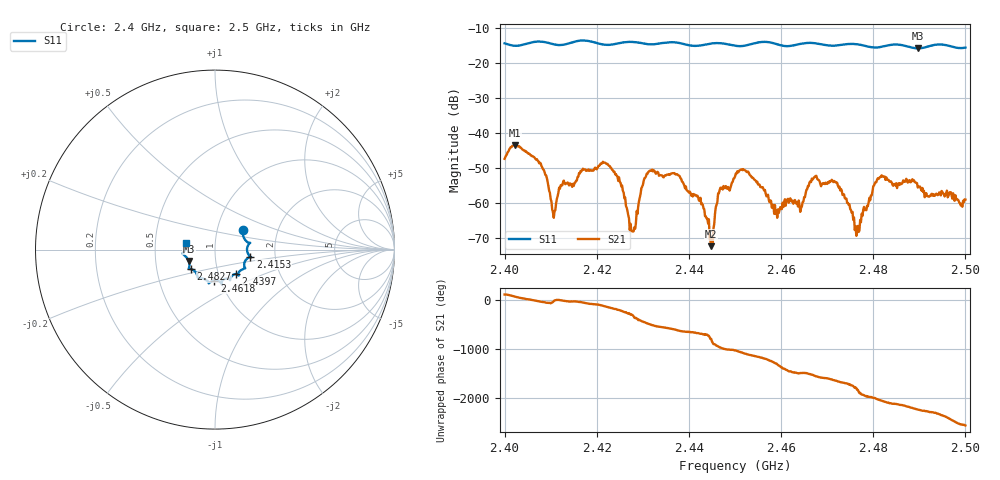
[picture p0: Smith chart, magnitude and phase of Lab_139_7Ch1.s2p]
# Hz S RI R 50
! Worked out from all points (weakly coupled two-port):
!   601 points, 2.4 GHz to 2.5 GHz, reference 50 ohm
!   highest |S21| = -43.44 dB at 2.4022 GHz (marker M1); lowest = -72.2 dB at 2.4448 GHz (marker M2)
!   lowest |S11| = -15.9 dB at 2.4897 GHz (marker M3), VSWR 1.38, Z = 36.9 - j4.82 ohm
!   |S11| at or under -10 dB: start of sweep to end of sweep
!   S12 and S22 are empty: the file has one direction only
!   S11 on the Smith chart (normalised r, x): 2.4 GHz: 1.33, +0.30; 2.4153 GHz: 1.48, -0.12; 2.4397 GHz: 1.21, -0.34; 2.4618 GHz: 0.94, -0.33; 2.4827 GHz: 0.75, -0.17; 2.5 GHz: 0.72, +0.06
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2.4e9  0.1553 0.1069  -0.00223 0.00366  0 0  0 0
2.402167e9  0.1587 0.0716  0.00111 0.00664  0 0  0 0
2.408167e9  0.1951 0.0375  0.00274 -0.00169  0 0  0 0
2.410667e9  0.1818 0.0187  0.000604 -0.00014  0 0  0 0
2.415333e9  0.1964 -0.0392  0.00184 -0.00072  0 0  0 0
2.416667e9  0.2024 -0.0432  0.00233 -0.00162  0 0  0 0
2.422833e9  0.1636 -0.0744  -0.00285 -0.0018  0 0  0 0
2.427667e9  0.1679 -0.1041  0.000181 0.000355  0 0  0 0
2.430667e9  0.1461 -0.1138  -0.000478 -0.00236  0 0  0 0
2.433333e9  0.1297 -0.134  -0.00274 -6.76e-05  0 0  0 0
2.439667e9  0.1168 -0.136  0.000377 0.00145  0 0  0 0
2.444833e9  0.0839 -0.1679  7.59e-05 -0.000232  0 0  0 0
2.446667e9  0.0844 -0.17  -0.00062 0.0014  0 0  0 0
2.45e9  0.0653 -0.1622  0.00146 0.00189  0 0  0 0
2.461833e9  -0.00339 -0.1728  0.00102 -0.000394  0 0  0 0
2.466667e9  -0.0348 -0.188  1.18e-05 -0.00223  0 0  0 0
2.472167e9  -0.0719 -0.1608  -0.0015 0.00124  0 0  0 0
2.4765e9  -0.0958 -0.1558  0.000356 -0.000286  0 0  0 0
2.482667e9  -0.1349 -0.1087  0.000763 0.002  0 0  0 0
2.483333e9  -0.14 -0.1084  0.00117 0.0018  0 0  0 0
2.489667e9  -0.1468 -0.0635  9.64e-05 -0.00167  0 0  0 0
2.5e9  -0.1596 0.0384  0.000668 -0.000908  0 0  0 0
